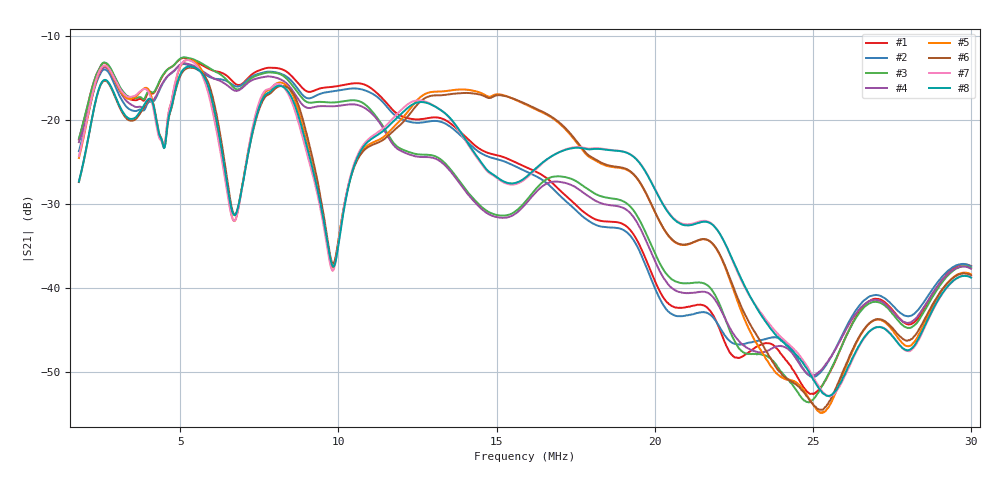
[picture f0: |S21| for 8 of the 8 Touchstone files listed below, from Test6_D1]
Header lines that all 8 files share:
!Agilent Technologies,E5061B,MY49101568,A.02.00
!Data & Calibration Information:
!Freq	S11:SOLT2(OFF)	S21:SOLT2(OFF)	S12:SOLT2(OFF)	S22:SOLT2(OFF)
# Hz S dB R 50
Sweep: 1.8 MHz to 30 MHz
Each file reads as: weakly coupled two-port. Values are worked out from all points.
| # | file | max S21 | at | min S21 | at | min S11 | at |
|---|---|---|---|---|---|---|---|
| 1 | CASE6.S2P | -12.60 dB | 5.123 MHz | -52.7 dB | 25.01 MHz | -37.5 dB | 16.71 MHz |
| 2 | CASE7.S2P | -13.34 dB | 5.123 MHz | -50.7 dB | 24.99 MHz | -37.0 dB | 16.71 MHz |
| 3 | CASE8.S2P | -12.53 dB | 5.123 MHz | -53.7 dB | 24.87 MHz | -38.4 dB | 12.92 MHz |
| 4 | CASE9.S2P | -13.24 dB | 5.123 MHz | -50.5 dB | 24.99 MHz | -37.4 dB | 12.89 MHz |
| 5 | CASE16.S2P | -12.83 dB | 5.246 MHz | -54.9 dB | 25.31 MHz | -52.2 dB | 14.97 MHz |
| 6 | CASE17.S2P | -13.78 dB | 5.319 MHz | -54.5 dB | 25.31 MHz | -46.9 dB | 14.87 MHz |
| 7 | CASE18.S2P | -12.87 dB | 5.221 MHz | -53.0 dB | 25.53 MHz | -28.2 dB | 28.39 MHz |
| 8 | CASE19.S2P | -13.63 dB | 5.294 MHz | -52.9 dB | 25.5 MHz | -28.7 dB | 28.39 MHz |
